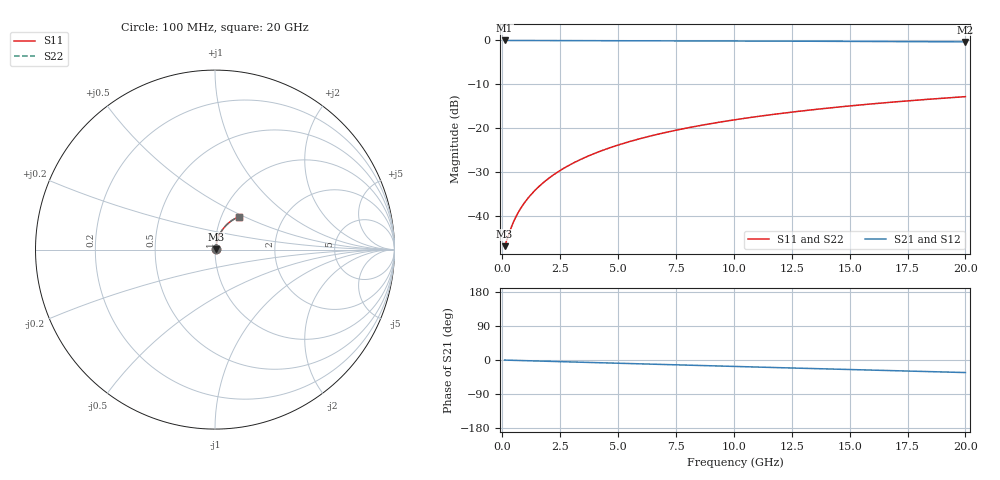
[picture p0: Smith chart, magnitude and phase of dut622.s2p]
! Touchstone file exported from HFSS 2026.1.0
!  File:  C:/ffzhzh/LocalFiles/Ansys_Project_Files/temp_train_TMRDL_622_1783009019_46388.aedt
!  Generated:  12:18:22 AM Jul  3, 2026
!  Design:  TMRDL
!  Project:  temp_train_TMRDL_622_1783009019_46388
! Variables:
!  h_bsmrdl = 2um
!  h_ox = 20um
!  h_rdl = 5um
!  h_sub = 80um
!  h_tmrdl = 2.7um
!  h_tsv = 80um
!  h_via = 3um
!  l_bsmrdl = 300um
!  l_sub = 932.89um
!  l_tmrdl = 532.89um
!  m_sub = 200um
!  pitch = 27.81um
!  r_tsv = 6um
!  s_tmrdl = 10um
!  w_bsmrdl = 18um
!  w_sub = 500um
!  w_tmrdl = 17.04um
!  x_tsv_center1 = 541.41um
!  x_tsv_center2 = 859.41um
!  x_tsv_center3 = 1409.34um
!  x_tsv_center4 = 1727.34um
!  x_tsv_center5 = 2277.27um
!  x_tsv_center6 = 2595.27um
# GHz S MA R 50.000000
! Terminal data exported
! Port[1] = TM_RDL1_1_T1
! Port[2] = TM_RDL1_1_T2
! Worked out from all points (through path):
!   200 points, 100 MHz to 20 GHz, reference 50 ohm
!   highest |S21| = -0.04 dB at 100 MHz (marker M1); lowest = -0.4 dB at 20 GHz (marker M2)
!   group delay of S21, straight-line fit = 4.6 ps
!   lowest |S11| = -46.8 dB at 100 MHz (marker M3), VSWR 1.01, Z = 50.4 + j0.157 ohm
!   |S11| at or under -10 dB: start of sweep to end of sweep
!   |S22| runs from -46.8 to -12.8 dB; largest |S21 - S12| = 3.4e-15
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0.1  0.004578 19.9  0.9957 -0.2  0.9957 -0.2  0.004578 19.9
! Gamma 0 0 0 0
! Port Impedance 50 0 50 0
0.4  0.007643 50.5  0.9952 -0.7  0.9952 -0.7  0.007642 50.5
0.6  0.01002 58.2  0.9948 -1.1  0.9948 -1.1  0.01001 58.2
0.7  0.0112 60.8  0.9947 -1.3  0.9947 -1.3  0.0112 60.8
0.9  0.01357 64.7  0.9945 -1.6  0.9945 -1.6  0.01357 64.7
1.1  0.01595 67.5  0.9943 -1.9  0.9943 -1.9  0.01595 67.5
1.3  0.01836 69.6  0.9941 -2.3  0.9941 -2.3  0.01836 69.6
1.5  0.02079 71.1  0.994 -2.6  0.994 -2.6  0.02079 71.1
1.8  0.02448 72.9  0.9938 -3.1  0.9938 -3.1  0.02448 72.9
2.3  0.03069 74.6  0.9935 -4.0  0.9935 -4.0  0.03069 74.6
2.9  0.03821 75.5  0.993 -5.0  0.993 -5.0  0.03821 75.5
3.5  0.04574 75.8  0.9925 -6.0  0.9925 -6.0  0.04574 75.8
4.2  0.05452 75.7  0.9918 -7.2  0.9918 -7.2  0.05452 75.7
5  0.06449 75.1  0.9909 -8.6  0.9909 -8.6  0.0645 75.1
5.9  0.07562 74.2  0.9897 -10.1  0.9897 -10.1  0.07562 74.2
6.8  0.08663 73.1  0.9884 -11.6  0.9884 -11.6  0.08663 73.1
8.3  0.1046 71.1  0.9859 -14.2  0.9859 -14.2  0.1046 71.1
10.1  0.1257 68.5  0.9825 -17.1  0.9825 -17.1  0.1257 68.5
11.7  0.1438 66.1  0.9792 -19.8  0.9792 -19.8  0.1438 66.1
13.4  0.1625 63.5  0.9755 -22.6  0.9755 -22.6  0.1625 63.5
16.7  0.1969 58.4  0.9677 -27.9  0.9677 -27.9  0.1969 58.4
20  0.2288 53.5  0.9596 -33.1  0.9596 -33.1  0.2289 53.5
